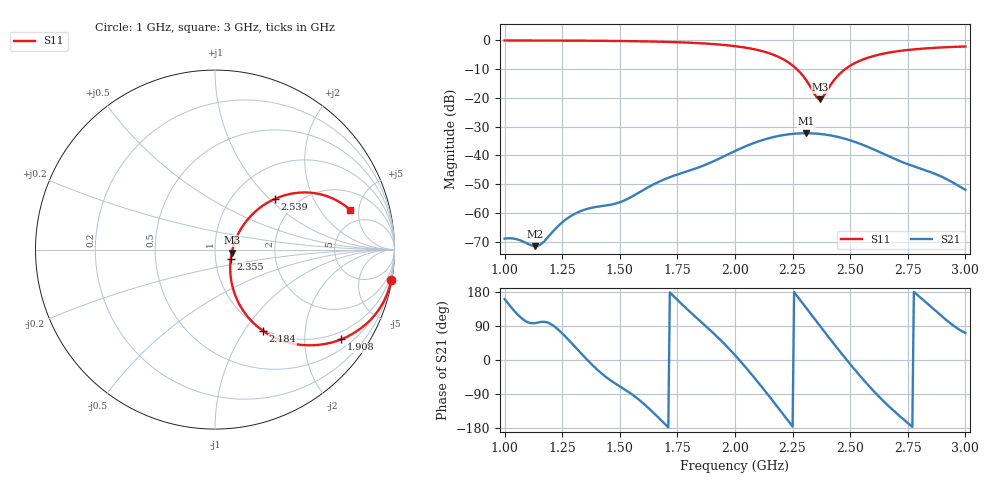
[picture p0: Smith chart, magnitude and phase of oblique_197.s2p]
! TOUCHSTONE file generated by CST MICROWAVE STUDIO
! Date and time: Tue Mar 18 00:02:59 2025
! Project name: oblique.cst
! Parameters = {Tilt=40; Fracture=1; B=12.5; D=160; F=15; Feed=2.85625; L=100; M=50; R=0.384908; S=2; Theta=180; length=57.125; wave=114.25}
! Header version: 2024
! Port assignment regex: !\s*Touchstone port\s*([0-9]+)\s*=\s*(CST MWS port|CST DES external port|CST DES block port)\s*(.+)\s* \(\"(.*)\"\)(\s*mode\s*([0-9]+))?.*
! Touchstone port assignment:
! Touchstone port 1 = CST MWS port 1 ("")
! Touchstone port 2 = CST MWS port 2 ("")
# GHz S DB R 50
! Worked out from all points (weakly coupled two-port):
!   305 points, 1 GHz to 3 GHz, reference 50 ohm
!   highest |S21| = -32.26 dB at 2.309 GHz (marker M1); lowest = -71.5 dB at 1.132 GHz (marker M2)
!   lowest |S11| = -20.5 dB at 2.368 GHz (marker M3), VSWR 1.21, Z = 60.3 - j2 ohm
!   |S11| at or under -10 dB: 2.268 GHz to 2.478 GHz (209.7 MHz wide, 8.84 % of centre)
!   S12 and S22 are empty: the file has one direction only
!   S11 on the Smith chart (normalised r, x): 1 GHz: 0, -12; 1.908 GHz: 0.75, -2.96; 2.184 GHz: 0.97, -1.22; 2.355 GHz: 1.18, -0.13; 2.539 GHz: 1.55, +1.08; 3 GHz: 3.49, +4.01
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1  -0.02 -9.8  -68.90 160.9  -200.00 0.0  -200.00 0.0
1.05263  -0.03 -10.5  -69.11 122.5  -200.00 0.0  -200.00 0.0
1.13158  -0.04 -11.7  -71.52 97.3  -200.00 0.0  -200.00 0.0
1.16447  -0.04 -12.2  -70.37 100.8  -200.00 0.0  -200.00 0.0
1.26316  -0.07 -13.9  -62.39 62.3  -200.00 0.0  -200.00 0.0
1.33553  -0.10 -15.3  -59.16 15.1  -200.00 0.0  -200.00 0.0
1.50658  -0.21 -19.3  -56.06 -72.1  -200.00 0.0  -200.00 0.0
1.67105  -0.44 -24.4  -49.09 -153.9  -200.00 0.0  -200.00 0.0
1.90789  -1.28 -35.4  -41.97 69.8  -200.00 0.0  -200.00 0.0
2  -2.00 -41.7  -38.45 12.7  -200.00 0.0  -200.00 0.0
2.10526  -3.47 -51.0  -35.00 -62.7  -200.00 0.0  -200.00 0.0
2.18421  -5.57 -59.4  -33.29 -123.6  -200.00 0.0  -200.00 0.0
2.25658  -9.15 -65.8  -32.44 179.1  -200.00 0.0  -200.00 0.0
2.30921  -13.83 -63.1  -32.26 137.1  -200.00 0.0  -200.00 0.0
2.33553  -17.27 -51.7  -32.31 116.2  -200.00 0.0  -200.00 0.0
2.35526  -19.82 -30.8  -32.41 100.5  -200.00 0.0  -200.00 0.0
2.36842  -20.46 -10.0  -32.51 90.1  -200.00 0.0  -200.00 0.0
2.45395  -11.66 43.0  -33.69 23.5  -200.00 0.0  -200.00 0.0
2.53947  -7.16 40.2  -35.83 -39.6  -200.00 0.0  -200.00 0.0
2.67105  -4.20 31.0  -40.42 -124.0  -200.00 0.0  -200.00 0.0
2.88816  -2.48 20.0  -47.06 120.5  -200.00 0.0  -200.00 0.0
3  -2.11 16.4  -51.92 71.1  -200.00 0.0  -200.00 0.0
